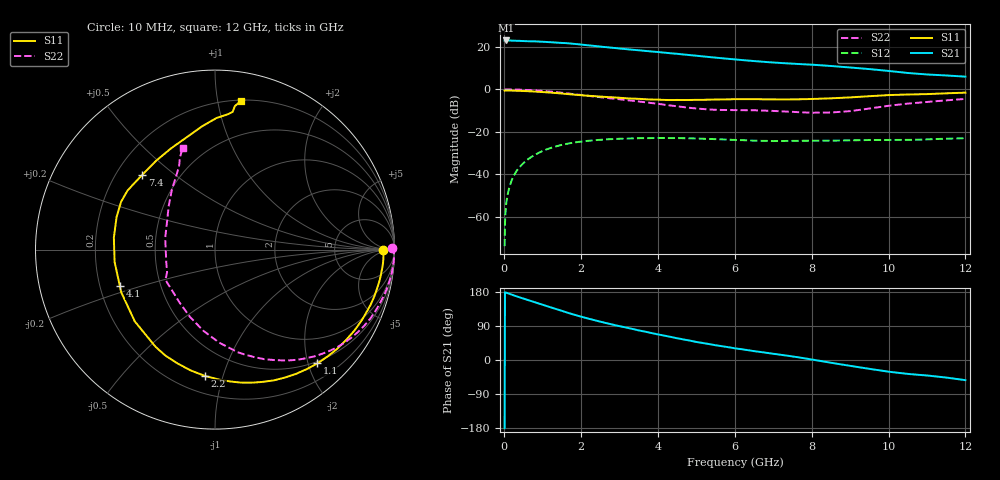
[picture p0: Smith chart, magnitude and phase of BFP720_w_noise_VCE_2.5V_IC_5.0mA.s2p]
! Infineon Technologies  Discrete & RF Semiconductors
! BFP720
! VCE =  2.5 V,  IC =  5.0 mA
! Common Emitter S-Parameters:  Aug 2012
# GHz  S  MA  R  50
!  f  S11  S21  S12  S22
! GHz  MAG  ANG  MAG  ANG  MAG  ANG  MAG  ANG
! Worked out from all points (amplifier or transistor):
!   105 points, 10 MHz to 12 GHz, reference 50 ohm
!   highest |S21| = 23.1 dB at 50 MHz (marker M1)
!   |S21| within 3 dB of that: start of sweep to 2.562 GHz
!   unconditionally stable (mu >= 1): 6.575 GHz to 11.51 GHz
!   at 300 MHz: K = 0.04, MSG = 31.0 dB, |S12| = -39.1 dB
!   at 3.6 GHz: K = 0.48, MSG = 20.7 dB, |S12| = -23.0 dB
!   at 12 GHz: K = 0.83, MSG = 14.5 dB, |S12| = -23.1 dB
!   lowest NFmin = 0.39 dB at 450 MHz
!   S11 on the Smith chart (normalised r, x): 10 MHz: 29, +0; 1.1 GHz: 0.46, -2.16; 2.2 GHz: 0.31, -0.88; 4.1 GHz: 0.28, -0.17; 7.4 GHz: 0.31, +0.39; 12 GHz: 0.21, +1.17
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0.01  0.9342 -0.0  14.17 -180.0  0.0002 170.0  0.9852 0.6
0.02  0.9402 -0.8  14.11 178.7  0.0007 104.3  0.9982 -0.5
0.05  0.9392 -2.1  14.27 177.7  0.0019 90.3  0.9972 -1.4
0.2  0.935 -8.6  14.13 172.4  0.0074 84.9  0.9952 -6.0
0.5  0.9155 -21.4  13.81 162.1  0.0182 76.7  0.9763 -15.0
0.8  0.8871 -34.7  13.58 152.3  0.0287 68.6  0.9467 -24.0
1.1  0.853 -48.0  13.13 142.5  0.0383 60.4  0.904 -32.9
1.6  0.7824 -70.5  12.37 126.3  0.0513 47.5  0.8138 -46.9
1.9  0.7409 -83.0  11.66 117.2  0.0571 40.4  0.7558 -54.5
2.1  0.7163 -90.6  11.16 111.7  0.06 36.1  0.7191 -59.1
2.2  0.7065 -94.4  10.94 108.9  0.0614 34.1  0.7017 -61.4
2.6  0.6674 -108.3  10.02 98.7  0.0656 26.7  0.6388 -69.8
3  0.6349 -121.4  9.223 89.3  0.0685 20.4  0.5843 -77.7
3.5  0.5997 -138.2  8.376 78.1  0.0705 13.3  0.519 -87.4
4.1  0.5678 -158.9  7.451 65.6  0.0712 6.1  0.444 -100.3
5  0.5674 173.2  6.229 47.6  0.0694 -3.2  0.3541 -124.2
6.1  0.5867 151.6  5.002 29.5  0.0638 -9.7  0.3237 -145.7
7.4  0.581 134.1  4.093 10.9  0.0608 -10.3  0.2981 -154.0
8.5  0.6154 113.3  3.565 -7.2  0.0618 -12.2  0.2849 167.0
9.5  0.6906 96.0  3.011 -23.3  0.0639 -13.9  0.353 137.0
10.5  0.7572 84.6  2.439 -36.7  0.0643 -16.0  0.462 118.0
12  0.8378 80.2  1.998 -53.2  0.0702 -20.1  0.5959 107.5
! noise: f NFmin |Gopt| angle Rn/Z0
0.45  0.39  0.49  4  0.18
1.8  0.49  0.47  25  0.14
2.4  0.53  0.34  60  0.19
5.5  0.68  0.22  65  0.13
10  0.97  0.4  -93  0.22
